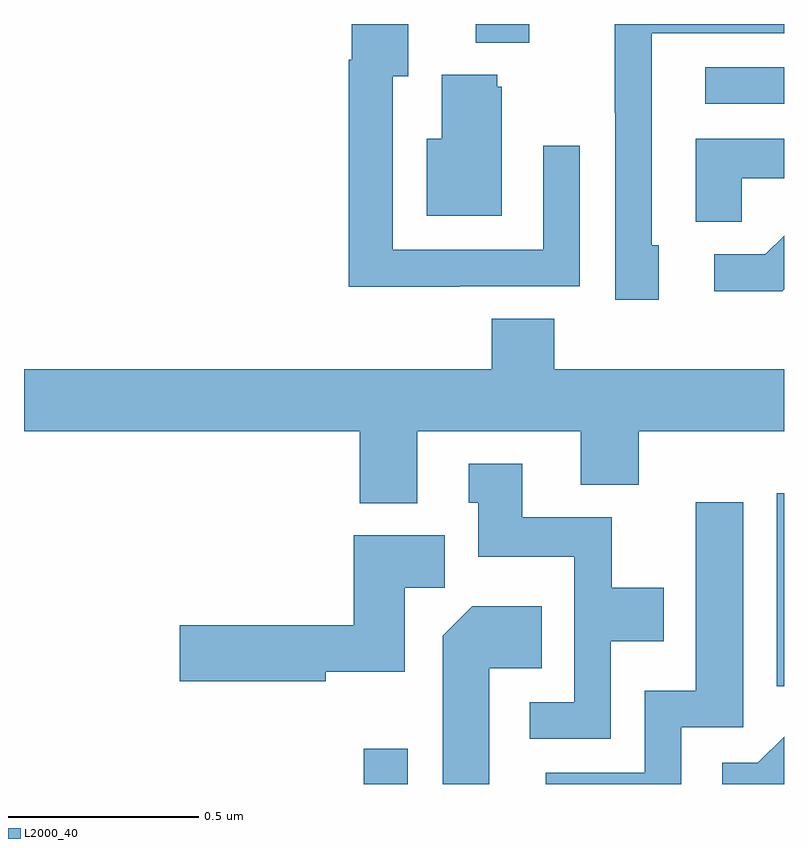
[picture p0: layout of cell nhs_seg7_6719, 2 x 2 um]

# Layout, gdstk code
import gdstk
lib = gdstk.Library(unit=1e-6, precision=1e-09)
def R(c, l, rs):  # rectangles x0, y0, x1, y1
    for r in rs: c.add(gdstk.rectangle(r[:2], r[2:], *l))
def P(c, l, *ps):  # polygons
    for p in ps: c.add(gdstk.Polygon(p, *l))
L2000_40 = (2000, 40)

nhs_seg7_6719 = lib.new_cell('nhs_seg7_6719')
R(nhs_seg7_6719, L2000_40, [(202.894,1021,203.01,1021.093), (203.981,1021.257,204,1021.765), (203.793,1022.79,204,1022.886), (203.189,1022.951,203.329,1023)])
P(nhs_seg7_6719, L2000_40, [(203.671,1022.418),(203.652,1022.418),(203.652,1022.976),(204,1022.976),(204,1023),(203.554,1023),(203.554,1022.767),(203.556,1022.767),(203.556,1022.274),(203.671,1022.274)],
  [(203.147,1022.31),(203.463,1022.31),(203.463,1022.68),(203.367,1022.68),(203.367,1022.406),(202.971,1022.406),(202.971,1022.863),(203.011,1022.863),(203.011,1023),(202.863,1023),(202.863,1022.906),(202.855,1022.906),(202.855,1022.309),(203.147,1022.309)],
  [(203.257,1022.835),(203.246,1022.835),(203.246,1022.866),(203.099,1022.866),(203.099,1022.698),(203.06,1022.698),(203.06,1022.495),(203.257,1022.495)],
  [(203.889,1022.594),(204,1022.594),(204,1022.698),(203.768,1022.698),(203.768,1022.479),(203.889,1022.479)],
  [(204,1022.302),(204,1022.443),(203.951,1022.394),(203.817,1022.394),(203.817,1022.297),(203.995,1022.297)],
  [(203.035,1021.928),(203.465,1021.928),(203.465,1021.787),(203.618,1021.787),(203.618,1021.928),(204,1021.928),(204,1022.092),(203.396,1022.092),(203.396,1022.225),(203.231,1022.225),(203.231,1022.092),(202,1022.092),(202,1021.928),(202.883,1021.928),(202.883,1021.739),(203.035,1021.739)],
  [(203.544,1021.376),(203.683,1021.376),(203.683,1021.516),(203.547,1021.516),(203.547,1021.702),(203.311,1021.702),(203.311,1021.843),(203.171,1021.843),(203.171,1021.74),(203.195,1021.74),(203.195,1021.598),(203.448,1021.598),(203.448,1021.215),(203.331,1021.215),(203.331,1021.119),(203.544,1021.119)],
  [(203.73,1021.149),(203.893,1021.149),(203.893,1021.741),(203.768,1021.741),(203.768,1021.246),(203.634,1021.246),(203.634,1021.03),(203.373,1021.03),(203.373,1021),(203.73,1021)],
  [(202.794,1021.295),(203.002,1021.295),(203.002,1021.516),(203.107,1021.516),(203.107,1021.654),(202.868,1021.654),(202.868,1021.418),(202.41,1021.418),(202.41,1021.271),(202.794,1021.271)],
  [(203.224,1021.304),(203.363,1021.304),(203.363,1021.468),(203.18,1021.468),(203.102,1021.39),(203.102,1021),(203.224,1021)],
  [(204,1021.125),(203.931,1021.056),(203.838,1021.056),(203.838,1021),(204,1021)])

lib.write_gds('nhs_seg7_6719.gds')
